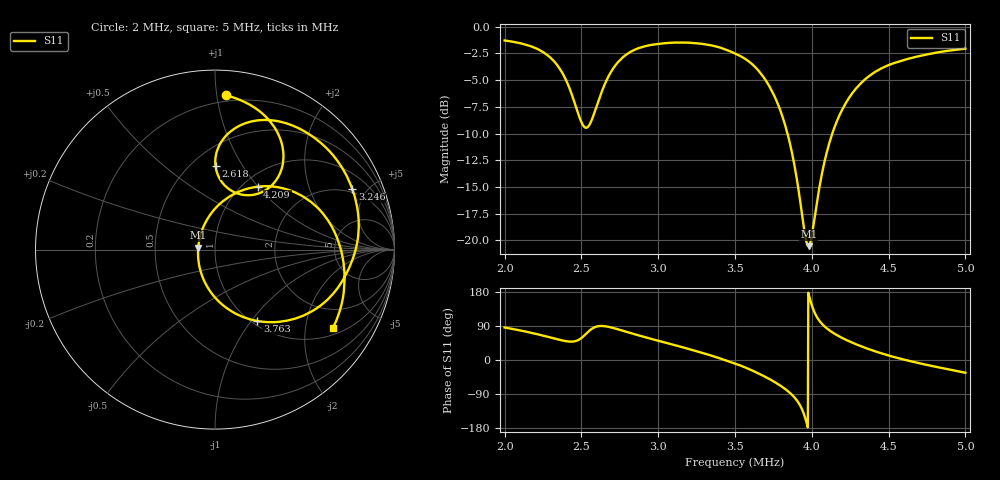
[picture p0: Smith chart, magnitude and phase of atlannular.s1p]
# Hz S RI R 50
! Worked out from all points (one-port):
!   1010 points, 2 MHz to 5 MHz, reference 50 ohm
!   lowest |S11| = -20.5 dB at 3.98 MHz (marker M1), VSWR 1.21, Z = 41.5 + j0.97 ohm
!   |S11| at or under -10 dB: 3.841 MHz to 4.133 MHz (291.9 kHz wide, 7.32 % of centre)
!   S11 on the Smith chart (normalised r, x): 2 MHz: 0.16, +1.06; 2.618 MHz: 0.65, +0.77; 3.246 MHz: 1.78, +4.00; 3.763 MHz: 1.06, -1.07; 4.209 MHz: 1.17, +1.00; 5 MHz: 1.22, -2.83
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2000000  0.0637 0.8589
2205100  0.2858 0.7374
2303173  0.3668 0.6081
2377473  0.3769 0.4723
2460773  0.277 0.328
2523173  0.1355 0.3093
2558873  0.063 0.349
2618346  0.00311 0.4655
2674846  0.0243 0.5818
2752146  0.1299 0.6867
2909719  0.3962 0.704
3126719  0.6715 0.5086
3245592  0.7654 0.3369
3376492  0.8003 0.1071
3501365  0.7373 -0.1231
3649965  0.513 -0.3581
3762965  0.2355 -0.3977
3875938  -0.0171 -0.246
3956138  -0.0934 -0.0497
3979938  -0.0934 0.0116
3997838  -0.087 0.0563
4095938  0.0268 0.2546
4208911  0.2377 0.3506
4250511  0.3173 0.3519
4428884  0.5841 0.2203
4625084  0.7059 -0.0181
4803457  0.7182 -0.2288
4999757  0.6565 -0.4371
